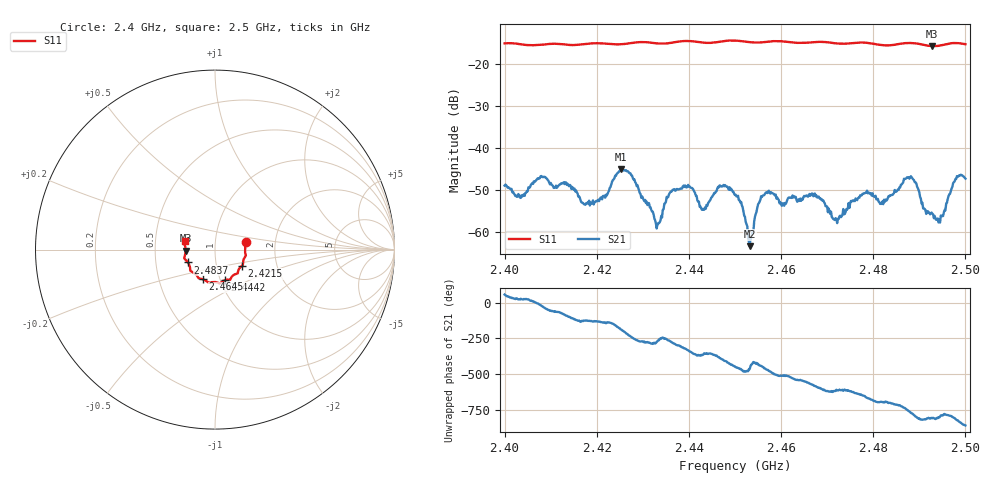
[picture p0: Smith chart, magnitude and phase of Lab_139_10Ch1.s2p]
# Hz S RI R 50
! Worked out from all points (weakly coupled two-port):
!   601 points, 2.4 GHz to 2.5 GHz, reference 50 ohm
!   highest |S21| = -44.90 dB at 2.4253 GHz (marker M1); lowest = -63.3 dB at 2.4532 GHz (marker M2)
!   lowest |S11| = -15.7 dB at 2.4928 GHz (marker M3), VSWR 1.39, Z = 36 - j0.387 ohm
!   |S11| at or under -10 dB: start of sweep to end of sweep
!   S12 and S22 are empty: the file has one direction only
!   S11 on the Smith chart (normalised r, x): 2.4 GHz: 1.41, +0.12; 2.4215 GHz: 1.33, -0.25; 2.4442 GHz: 1.05, -0.37; 2.4645 GHz: 0.83, -0.29; 2.4837 GHz: 0.73, -0.11; 2.5 GHz: 0.71, +0.07
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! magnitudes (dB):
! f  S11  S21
! 2.4 GHz  -15.1  -48.9
! 2.4038 GHz  -15.3  -51.5
! 2.4083 GHz  -15.4  -46.9
! 2.4167 GHz  -15.3  -52.8
! 2.4215 GHz  -15.1  -51.3
! 2.4253 GHz  -15.3  -44.9
! 2.4333 GHz  -15.1  -57.8
! 2.4365 GHz  -14.9  -49.8
! 2.4442 GHz  -15.0  -53.0
! 2.45 GHz  -14.4  -51.1
! 2.4532 GHz  -14.8  -63.3
! 2.4568 GHz  -14.7  -50.5
! 2.4645 GHz  -15.0  -52.0
! 2.4667 GHz  -14.8  -50.8
! 2.4718 GHz  -15.1  -56.6
! 2.4782 GHz  -14.9  -50.7
! 2.4833 GHz  -15.6  -51.4
! 2.4837 GHz  -15.5  -51.2
! 2.4882 GHz  -15.0  -46.7
! 2.4928 GHz  -15.7  -55.6
! 2.4947 GHz  -15.6  -56.0
! 2.5 GHz  -15.3  -47.2
